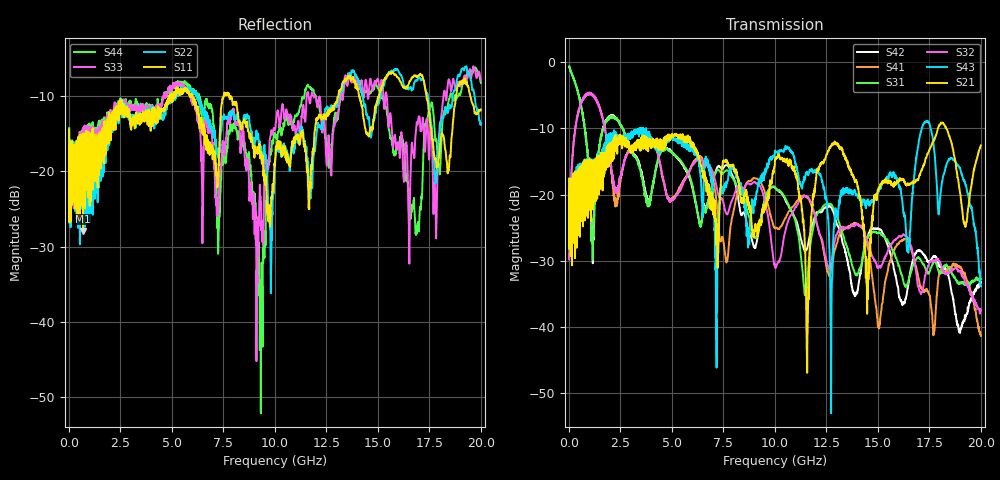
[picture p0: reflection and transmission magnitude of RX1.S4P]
# Hz S  RI  R 50
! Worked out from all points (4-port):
!   1601 points, 10 MHz to 20 GHz, reference 50 ohm
!   strongest paths, dB at 10 MHz, 5.008 GHz, 10.01 GHz, 15 GHz, 20 GHz:
!     S21: -17.6, -10.8, -14.7, -19.4, -12.6
!     S43: -17.7, -11.5, -13.4, -19.7, -33.8
!     S32: -29.8, -20.9, -30.8, -31.0, -37.5
!     S31: -0.7, -13.7, -18.9, -25.8, -32.8
!     S41: -29.6, -20.7, -25.1, -40.0, -41.3
!     S42: -0.7, -13.6, -19.0, -25.1, -33.3
!   lowest |S11| = -27.9 dB at 684.7 MHz (marker M1), VSWR 1.08, Z = 47.2 - j2.75 ohm
!   |S11| at or under -10 dB: start of sweep to 4.844 GHz; 5.997 GHz to 7.506 GHz (1.509 GHz wide, 22.3 % of centre); 7.797 GHz to 13.07 GHz (5.275 GHz wide, 50.6 % of centre)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
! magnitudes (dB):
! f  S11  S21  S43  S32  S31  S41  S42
! 10 MHz  -14.4  -17.6  -17.7  -29.8  -0.7  -29.6  -0.7
! 684.7 MHz  -27.9  -24.8  -20.6  -5.5  -8.2  -5.5  -8.1
! 9.318 GHz  -17.4  -24.5  -17.6  -19.0  -23.6  -18.2  -23.5
! 11.57 GHz  -19.3  -46.9  -16.6  -20.3  -33.4  -20.5  -28.1
! 12.8 GHz  -11.6  -12.5  -30.7  -28.8  -21.8  -30.2  -22.3
! 17.38 GHz  -10.4  -14.2  -9.0  -31.4  -31.4  -34.3  -29.9
! 20 GHz  -11.8  -12.6  -33.8  -37.5  -32.8  -41.3  -33.3
